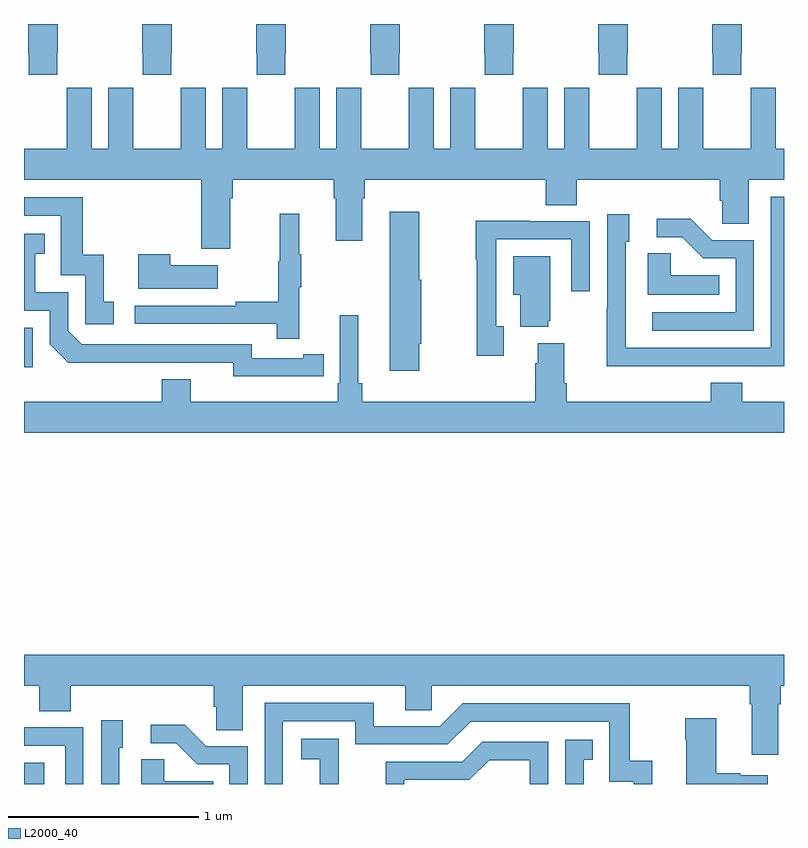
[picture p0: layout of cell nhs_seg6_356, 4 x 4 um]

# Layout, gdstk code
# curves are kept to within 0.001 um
import gdstk
lib = gdstk.Library(unit=1e-6, precision=1e-09)
def R(c, l, rs):  # rectangles x0, y0, x1, y1
    for r in rs: c.add(gdstk.rectangle(r[:2], r[2:], *l))
def P(c, l, *ps):  # polygons
    for p in ps: c.add(gdstk.Polygon(p, *l))
L2000_40 = (2000, 40)

nhs_seg6_356 = lib.new_cell('nhs_seg6_356')
R(nhs_seg6_356, L2000_40, [(131,933.5,131.107,933.613), (131,935.694,131.046,935.901)])
P(nhs_seg6_356, L2000_40, [(134.775,937.345),(134.778,937.345),(134.778,937.5),(134.623,937.5),(134.623,937.345),(134.625,937.345),(134.625,937.233),(134.775,937.233)],
  [(134.175,937.345),(134.178,937.345),(134.178,937.5),(134.023,937.5),(134.023,937.345),(134.025,937.345),(134.025,937.233),(134.175,937.233)],
  [(133.575,937.345),(133.578,937.345),(133.578,937.5),(133.423,937.5),(133.423,937.345),(133.425,937.345),(133.425,937.233),(133.575,937.233)],
  [(132.975,937.345),(132.978,937.345),(132.978,937.5),(132.823,937.5),(132.823,937.345),(132.825,937.345),(132.825,937.233),(132.975,937.233)],
  [(132.375,937.345),(132.378,937.345),(132.378,937.5),(132.223,937.5),(132.223,937.345),(132.225,937.345),(132.225,937.233),(132.375,937.233)],
  [(131.775,937.345),(131.778,937.345),(131.778,937.5),(131.623,937.5),(131.623,937.345),(131.625,937.345),(131.625,937.233),(131.775,937.233)],
  [(131.175,937.345),(131.178,937.345),(131.178,937.5),(131.023,937.5),(131.023,937.345),(131.025,937.345),(131.025,937.233),(131.175,937.233)],
  [(133.745,936.547),(133.91,936.547),(133.91,936.68),(134.663,936.68),(134.663,936.571),(134.676,936.571),(134.676,936.448),(134.815,936.448),(134.815,936.68),(135,936.68),(135,936.844),(134.956,936.844),(134.956,937.165),(134.826,937.165),(134.826,937.052),(134.825,937.052),(134.825,936.844),(134.575,936.844),(134.575,937.052),(134.574,937.052),(134.574,937.165),(134.444,937.165),(134.444,936.844),(134.356,936.844),(134.356,937.165),(134.226,937.165),(134.226,937.052),(134.225,937.052),(134.225,936.844),(133.975,936.844),(133.975,937.052),(133.974,937.052),(133.974,937.165),(133.844,937.165),(133.844,936.844),(133.756,936.844),(133.756,937.165),(133.626,937.165),(133.626,937.052),(133.625,937.052),(133.625,936.844),(133.375,936.844),(133.375,937.052),(133.374,937.052),(133.374,937.165),(133.244,937.165),(133.244,936.844),(133.156,936.844),(133.156,937.165),(133.026,937.165),(133.026,937.052),(133.025,937.052),(133.025,936.844),(132.775,936.844),(132.775,937.052),(132.774,937.052),(132.774,937.165),(132.644,937.165),(132.644,936.844),(132.556,936.844),(132.556,937.165),(132.426,937.165),(132.426,937.052),(132.425,937.052),(132.425,936.844),(132.175,936.844),(132.175,937.052),(132.174,937.052),(132.174,937.165),(132.044,937.165),(132.044,936.844),(131.956,936.844),(131.956,937.165),(131.826,937.165),(131.826,937.052),(131.825,937.052),(131.825,936.844),(131.575,936.844),(131.575,937.052),(131.574,937.052),(131.574,937.165),(131.444,937.165),(131.444,936.844),(131.356,936.844),(131.356,937.165),(131.226,937.165),(131.226,937.052),(131.225,937.052),(131.225,936.844),(131,936.844),(131,936.68),(131.933,936.68),(131.933,936.318),(132.085,936.318),(132.085,936.584),(132.098,936.584),(132.098,936.68),(132.629,936.68),(132.629,936.584),(132.641,936.584),(132.641,936.36),(132.781,936.36),(132.781,936.584),(132.794,936.584),(132.794,936.68),(133.745,936.68)],
  [(134.531,935.7),(135,935.7),(135,936.591),(134.931,936.591),(134.931,935.796),(134.166,935.796),(134.166,936.354),(134.185,936.354),(134.185,936.499),(134.07,936.499),(134.07,936.005),(134.068,936.005),(134.068,935.699),(134.531,935.699)],
  [(131.473,936.039),(131.42,936.039),(131.42,936.286),(131.309,936.286),(131.309,936.588),(131,936.588),(131,936.492),(131.193,936.492),(131.193,936.177),(131.322,936.177),(131.322,935.919),(131.473,935.919)],
  [(133.08,935.817),(133.09,935.817),(133.09,936.153),(133.08,936.153),(133.08,936.511),(132.926,936.511),(132.926,935.676),(133.08,935.676)],
  [(132.449,936.115),(132.46,936.115),(132.46,936.289),(132.449,936.289),(132.449,936.502),(132.346,936.502),(132.346,936.252),(132.339,936.252),(132.339,936.038),(132.115,936.038),(132.115,936.018),(131.583,936.018),(131.583,935.922),(132.331,935.922),(132.331,935.844),(132.449,935.844)],
  [(134.841,936.363),(134.622,936.363),(134.509,936.476),(134.331,936.476),(134.331,936.378),(134.465,936.378),(134.576,936.267),(134.745,936.267),(134.745,935.982),(134.307,935.982),(134.307,935.886),(134.841,935.886)],
  [(133.525,935.91),(133.485,935.91),(133.485,936.366),(133.881,936.366),(133.881,936.093),(133.977,936.093),(133.977,936.462),(133.661,936.462),(133.661,936.464),(133.377,936.464),(133.377,936.259),(133.384,936.259),(133.384,935.754),(133.525,935.754)],
  [(132.47,935.646),(132.578,935.646),(132.578,935.762),(132.47,935.762),(132.47,935.742),(132.198,935.742),(132.198,935.814),(131.304,935.814),(131.232,935.886),(131.232,936.087),(131.059,936.087),(131.059,936.291),(131.108,936.291),(131.108,936.397),(131,936.397),(131,935.991),(131.136,935.991),(131.136,935.814),(131.234,935.717),(132.102,935.718),(132.102,935.645)],
  [(134.66,936.178),(134.403,936.178),(134.403,936.293),(134.282,936.293),(134.282,936.074),(134.66,936.074)],
  [(132.019,936.229),(131.771,936.229),(131.771,936.289),(131.6,936.289),(131.6,936.107),(132.019,936.107)],
  [(133.76,935.937),(133.771,935.937),(133.771,936.277),(133.574,936.277),(133.574,936.074),(133.613,936.074),(133.613,935.906),(133.76,935.906)],
  [(135,935.512),(134.78,935.512),(134.78,935.611),(134.615,935.611),(134.615,935.512),(133.856,935.512),(133.856,935.608),(133.843,935.608),(133.843,935.821),(133.703,935.821),(133.703,935.714),(133.691,935.714),(133.691,935.512),(132.779,935.512),(132.779,935.608),(132.76,935.608),(132.76,935.968),(132.663,935.968),(132.663,935.608),(132.65,935.608),(132.65,935.512),(131.878,935.512),(131.878,935.629),(131.726,935.629),(131.726,935.512),(131,935.512),(131,935.348),(135,935.348)],
  [(134.971,933.92),(134.984,933.92),(134.984,934.016),(135,934.016),(135,934.18),(131,934.18),(131,934.016),(131.081,934.016),(131.081,933.883),(131.246,933.883),(131.246,934.016),(131.999,934.016),(131.999,933.907),(132.012,933.907),(132.012,933.784),(132.151,933.784),(132.151,934.016),(133.007,934.016),(133.007,933.889),(133.146,933.889),(133.146,934.016),(134.819,934.016),(134.819,933.92),(134.831,933.92),(134.831,933.654),(134.971,933.654)],
  [(132.363,933.831),(132.744,933.831),(132.744,933.708),(133.23,933.708),(133.35,933.828),(134.079,933.828),(134.079,933.513),(134.208,933.513),(134.208,933.5),(134.306,933.5),(134.306,933.622),(134.188,933.622),(134.188,933.924),(133.308,933.924),(133.188,933.804),(132.841,933.804),(132.841,933.927),(132.267,933.927),(132.267,933.5),(132.363,933.5)],
  [(134.914,933.547),(134.771,933.547),(134.771,933.557),(134.644,933.557),(134.644,933.847),(134.479,933.847),(134.479,933.734),(134.486,933.734),(134.486,933.5),(134.914,933.5)],
  [(131.502,933.69),(131.521,933.69),(131.521,933.835),(131.406,933.835),(131.406,933.5),(131.502,933.5)],
  [(132.177,933.699),(131.958,933.699),(131.845,933.812),(131.667,933.812),(131.667,933.714),(131.801,933.714),(131.912,933.603),(132.081,933.603),(132.081,933.5),(132.177,933.5)],
  [(131.313,933.798),(131,933.798),(131,933.702),(131.217,933.702),(131.217,933.5),(131.313,933.5)],
  [(132.656,933.533),(132.657,933.533),(132.657,933.739),(132.459,933.739),(132.459,933.629),(132.557,933.629),(132.557,933.5),(132.656,933.5)],
  [(133.945,933.627),(133.994,933.627),(133.994,933.733),(133.848,933.733),(133.848,933.5),(133.945,933.5)],
  [(133.002,933.522),(133.344,933.522),(133.448,933.626),(133.662,933.626),(133.662,933.5),(133.758,933.5),(133.758,933.723),(133.412,933.723),(133.307,933.618),(132.904,933.618),(132.904,933.5),(133.002,933.5)],
  [(131.996,933.514),(131.739,933.514),(131.739,933.629),(131.618,933.629),(131.618,933.5),(131.996,933.5)])

lib.write_gds('nhs_seg6_356.gds')
